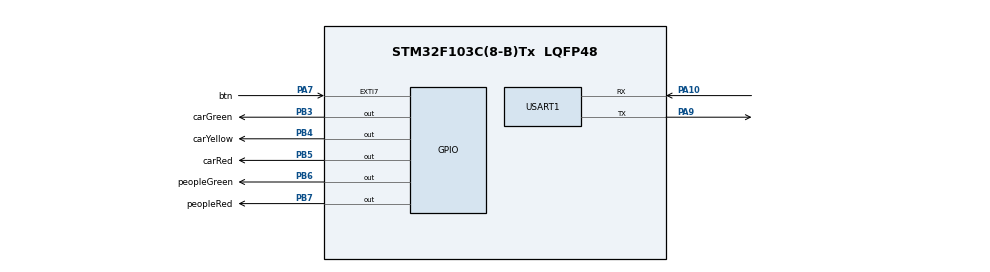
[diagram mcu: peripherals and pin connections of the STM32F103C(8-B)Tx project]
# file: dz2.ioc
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Mcu.Family=STM32F1
Mcu.Name=STM32F103C(8-B)Tx
Mcu.Package=LQFP48
NVIC.EXTI9_5_IRQn=true\:0\:0\:false\:false\:true\:true\:true\:true
NVIC.PriorityGroup=NVIC_PRIORITYGROUP_4
NVIC.TIM1_UP_IRQn=true\:0\:0\:false\:false\:true\:true\:true\:true
NVIC.USART1_IRQn=true\:0\:0\:false\:false\:true\:true\:true\:true
PA10.Mode=Asynchronous
PA10.Signal=USART1_RX
PA13.Mode=Serial_Wire
PA13.Signal=SYS_JTMS-SWDIO
PA14.Mode=Serial_Wire
PA14.Signal=SYS_JTCK-SWCLK
PA7.GPIO_Label=btn
PA7.GPIO_ModeDefaultEXTI=GPIO_MODE_IT_FALLING
PA7.GPIO_PuPd=GPIO_PULLUP
PA7.Signal=GPXTI7
PA9.Mode=Asynchronous
PA9.Signal=USART1_TX
PB3.GPIO_Label=carGreen
PB3.PinState=GPIO_PIN_RESET
PB3.Signal=GPIO_Output
PB4.GPIO_Label=carYellow
PB4.PinState=GPIO_PIN_RESET
PB4.Signal=GPIO_Output
PB5.GPIO_Label=carRed
PB5.PinState=GPIO_PIN_SET
PB5.Signal=GPIO_Output
PB6.GPIO_Label=peopleGreen
PB6.PinState=GPIO_PIN_RESET
PB6.Signal=GPIO_Output
PB7.GPIO_Label=peopleRed
PB7.PinState=GPIO_PIN_SET
PB7.Signal=GPIO_Output
ProjectManager.HeapSize=0x200
ProjectManager.StackSize=0x400
ProjectManager.TargetToolchain=STM32CubeIDE
RCC.APB1Freq_Value=8000000
RCC.APB2Freq_Value=8000000
TIM1.Period=1000
TIM1.Prescaler=7999
USART1.VirtualMode=VM_ASYNC
VP_TIM1_VS_ClockSourceINT.Mode=Internal
board=custom

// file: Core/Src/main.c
/* USER CODE BEGIN Header */
/**
  ******************************************************************************
  * @file           : main.c
  * @brief          : Main program body
  ******************************************************************************
  * @attention
  *
  * Copyright (c) 2024 STMicroelectronics.
  * All rights reserved.
  *
  * This software is licensed under terms that can be found in the LICENSE file
  * in the root directory of this software component.
  * If no LICENSE file comes with this software, it is provided AS-IS.
  *
  ******************************************************************************
  */
/* USER CODE END Header */
#include "main.h"

TIM_HandleTypeDef htim1;

UART_HandleTypeDef huart1;

/* USER CODE BEGIN PV */
uint8_t status = 1;
uint8_t letGo = 0;
uint8_t seconds = 0;
uint8_t delay = 0;
uint8_t pData[8] = {0};
uint8_t dataReceived=0; // признак данное получено
uint8_t dataTransmitted=1; // признак данное передано

enum numColor {
	CAR_GREEN,
	CAR_YELLOW,
	CAR_RED,
	PEOPLE_GREEN,
	PEOPLE_RED
};
/* USER CODE END PV */

void SystemClock_Config(void);
static void MX_GPIO_Init(void);
static void MX_USART1_UART_Init(void);
static void MX_TIM1_Init(void);
/* USER CODE BEGIN PFP */
void setIntBufer(int32_t num, uint8_t buf[], uint8_t len);
void setStatus(void);
void setStrob(enum numColor numColor, uint8_t numRepeat);
void setAllRed(void);
void setCarRed(void);
void setCarYellow(void);
void setCarGreen(void);
/* USER CODE END PFP */

int main(void)
{

  /* MCU Configuration--------------------------------------------------------*/

  /* Reset of all peripherals, Initializes the Flash interface and the Systick. */
  HAL_Init();

  /* Configure the system clock */
  SystemClock_Config();

  /* Initialize all configured peripherals */
  MX_GPIO_Init();
  MX_USART1_UART_Init();
  MX_TIM1_Init();
  /* USER CODE BEGIN 2 */
  HAL_TIM_Base_Start_IT(&htim1);
  /* USER CODE END 2 */

  /* Infinite loop */
  /* USER CODE BEGIN WHILE */
  HAL_UART_Receive_IT (&huart1, pData, 8);
  while (1)
  {
//	  uint8_t state = HAL_UART_GetState(&huart1);
//	  if( (state != HAL_UART_STATE_BUSY_RX) && (state != HAL_UART_STATE_BUSY_TX_RX) ) {
//
//	    while( HAL_UART_Transmit_IT(&huart1, pData, 8) == HAL_BUSY );

	  setStatus();

	  if(seconds < delay){
		  if(letGo == 1){
			  if((delay - seconds) > 5){
				  status = 2;
				  letGo = 0;
				  continue;
			  } else {
				  letGo = 0;
			  }
		  }
	  }
	  else {
		  seconds = 0;
		  delay = 0;
		  status++;
	  }

    /* USER CODE END WHILE */

  }
}

void SystemClock_Config(void)
{
  RCC_OscInitTypeDef RCC_OscInitStruct = {0};
  RCC_ClkInitTypeDef RCC_ClkInitStruct = {0};

  /** Initializes the RCC Oscillators according to the specified parameters
  * in the RCC_OscInitTypeDef structure.
  */
  RCC_OscInitStruct.OscillatorType = RCC_OSCILLATORTYPE_HSI;
  RCC_OscInitStruct.HSIState = RCC_HSI_ON;
  RCC_OscInitStruct.HSICalibrationValue = RCC_HSICALIBRATION_DEFAULT;
  RCC_OscInitStruct.PLL.PLLState = RCC_PLL_NONE;
  if (HAL_RCC_OscConfig(&RCC_OscInitStruct) != HAL_OK)
  {
    Error_Handler();
  }

  /** Initializes the CPU, AHB and APB buses clocks
  */
  RCC_ClkInitStruct.ClockType = RCC_CLOCKTYPE_HCLK|RCC_CLOCKTYPE_SYSCLK
                              |RCC_CLOCKTYPE_PCLK1|RCC_CLOCKTYPE_PCLK2;
  RCC_ClkInitStruct.SYSCLKSource = RCC_SYSCLKSOURCE_HSI;
  RCC_ClkInitStruct.AHBCLKDivider = RCC_SYSCLK_DIV1;
  RCC_ClkInitStruct.APB1CLKDivider = RCC_HCLK_DIV1;
  RCC_ClkInitStruct.APB2CLKDivider = RCC_HCLK_DIV1;

  if (HAL_RCC_ClockConfig(&RCC_ClkInitStruct, FLASH_LATENCY_0) != HAL_OK)
  {
    Error_Handler();
  }
}

static void MX_TIM1_Init(void)
{

  TIM_ClockConfigTypeDef sClockSourceConfig = {0};
  TIM_MasterConfigTypeDef sMasterConfig = {0};

  htim1.Instance = TIM1;
  htim1.Init.Prescaler = 7999;
  htim1.Init.CounterMode = TIM_COUNTERMODE_UP;
  htim1.Init.Period = 1000;
  htim1.Init.ClockDivision = TIM_CLOCKDIVISION_DIV1;
  htim1.Init.RepetitionCounter = 0;
  htim1.Init.AutoReloadPreload = TIM_AUTORELOAD_PRELOAD_DISABLE;
  if (HAL_TIM_Base_Init(&htim1) != HAL_OK)
  {
    Error_Handler();
  }
  sClockSourceConfig.ClockSource = TIM_CLOCKSOURCE_INTERNAL;
  if (HAL_TIM_ConfigClockSource(&htim1, &sClockSourceConfig) != HAL_OK)
  {
    Error_Handler();
  }
  sMasterConfig.MasterOutputTrigger = TIM_TRGO_RESET;
  sMasterConfig.MasterSlaveMode = TIM_MASTERSLAVEMODE_DISABLE;
  if (HAL_TIMEx_MasterConfigSynchronization(&htim1, &sMasterConfig) != HAL_OK)
  {
    Error_Handler();
  }

}

static void MX_USART1_UART_Init(void)
{

  huart1.Instance = USART1;
  huart1.Init.BaudRate = 115200;
  huart1.Init.WordLength = UART_WORDLENGTH_8B;
  huart1.Init.StopBits = UART_STOPBITS_1;
  huart1.Init.Parity = UART_PARITY_NONE;
  huart1.Init.Mode = UART_MODE_TX_RX;
  huart1.Init.HwFlowCtl = UART_HWCONTROL_NONE;
  huart1.Init.OverSampling = UART_OVERSAMPLING_16;
  if (HAL_UART_Init(&huart1) != HAL_OK)
  {
    Error_Handler();
  }

}

static void MX_GPIO_Init(void)
{
  GPIO_InitTypeDef GPIO_InitStruct = {0};

  /* GPIO Ports Clock Enable */
  __HAL_RCC_GPIOA_CLK_ENABLE();
  __HAL_RCC_GPIOB_CLK_ENABLE();

  /*Configure GPIO pin Output Level */
  HAL_GPIO_WritePin(GPIOB, carGreen_Pin|carYellow_Pin|peopleGreen_Pin, GPIO_PIN_RESET);

  /*Configure GPIO pin Output Level */
  HAL_GPIO_WritePin(GPIOB, carRed_Pin|peopleRed_Pin, GPIO_PIN_SET);

  /*Configure GPIO pin : btn_Pin */
  GPIO_InitStruct.Pin = btn_Pin;
  GPIO_InitStruct.Mode = GPIO_MODE_IT_FALLING;
  GPIO_InitStruct.Pull = GPIO_PULLUP;
  HAL_GPIO_Init(btn_GPIO_Port, &GPIO_InitStruct);

  /*Configure GPIO pins : carGreen_Pin carYellow_Pin carRed_Pin peopleGreen_Pin
                           peopleRed_Pin */
  GPIO_InitStruct.Pin = carGreen_Pin|carYellow_Pin|carRed_Pin|peopleGreen_Pin
                          |peopleRed_Pin;
  GPIO_InitStruct.Mode = GPIO_MODE_OUTPUT_PP;
  GPIO_InitStruct.Pull = GPIO_NOPULL;
  GPIO_InitStruct.Speed = GPIO_SPEED_FREQ_LOW;
  HAL_GPIO_Init(GPIOB, &GPIO_InitStruct);

  /* EXTI interrupt init*/
  HAL_NVIC_SetPriority(EXTI9_5_IRQn, 0, 0);
  HAL_NVIC_EnableIRQ(EXTI9_5_IRQn);

}

/* USER CODE BEGIN 4 */

/**
 * Функция формирует массив buf длиной len из разрядов числа num (тип uint32)
 * Массив записывается с конца
 * Нулевой элемент массива buf используется для знака
 * */
void setIntBufer(int32_t num, uint8_t buf[], uint8_t len){
	  len -= 1;

	  if(num < 0){ // если переданное в функцию число отрицательное
		  num *= -1; // делаем число положительным
		  buf[0] = '-'; // записываем знак в нулевой элемент массива
	  }
	  else
		  buf[0] = 0; // иначе обнуляем

	  if(num == 0){ // если в функцию был передан 0
		  buf[len] = '0';
	  }
	  else { // иначе производим перебор переданного числа с записью каждого разряда в элемент массива buf
		  while(num){
			  buf[len] = '0' + (num % 10);
			  num /= 10;
			  len--;
		  }
	  }
}

// Функция вызывается из прерывания таймера (каждую 1 секунду)
void timerIT(){
	uint8_t str[] = "Timer!\r\n";
	HAL_UART_Transmit(&huart1, str, 8, 1);

	uint8_t strSec[] = "Sec - ";
	uint8_t strDel[] = " Delay - ";
	uint8_t strStatus[] = " Status - ";
	uint8_t strNum[8];

	HAL_UART_Transmit(&huart1, strSec, 6, 1);
	setIntBufer(seconds, strNum, 2);
	HAL_UART_Transmit(&huart1, strNum, 2, 1);

	HAL_UART_Transmit(&huart1, strDel, 9, 1);
	setIntBufer(delay, strNum, 2);
	HAL_UART_Transmit(&huart1, strNum, 2, 1);

	HAL_UART_Transmit(&huart1, strStatus, 10, 1);
	setIntBufer(status, strNum, 2);
	HAL_UART_Transmit(&huart1, strNum, 2, 1);

	uint8_t strN[] = "\r\n";
	HAL_UART_Transmit(&huart1, strN, 2, 1);

	seconds++;
}

//void HAL_UART_RxCpltCallback(UART_HandleTypeDef *huart) {
//
//  if(huart == &huart1) {
//
//    dataReceived=1;
//
//    if( dataTransmitted != 0 ) {
//		HAL_UART_Transmit_IT(&huart1, pData, 8);
//		dataReceived=0;
//		dataTransmitted=0;
//    }
//
//    HAL_UART_Receive_IT (&huart1, pData, 8);
//  }
//}
//
//void HAL_UART_TxCpltCallback(UART_HandleTypeDef *huart) {
//
//  if(huart == &huart1) {
//
//    dataTransmitted=1;
//
//    if( dataReceived != 0 ) {
//      HAL_UART_Transmit_IT(&huart1, pData, 8);
//      dataReceived=0;
//      dataTransmitted=0;
//    }
//  }
//}

// Функция вызывается из прерывания UART
void uartIT(){
	if( pData[0] == '1' ){
		status = 2;
		delay = 0;
	}

	HAL_UART_Receive_IT (&huart1, pData, 8);
}

// Функция вызывается из прерывания GPIO
void peopleBtnClick(){
	uint8_t str[] = "Click!\r\n";
	HAL_UART_Transmit(&huart1, str, 8, 1);
	if(status == 1){
		delay = 0;
		letGo = 1;
	}
}

// функция устанавливает текущее состояние светофоров в соответствии с переменной status
void setStatus(){
	if(status > 9)
		status = 1;

	switch (status){
		case 0:
			break;
		case 1:
			delay = 15;
			setCarGreen();
			break;
		case 2:
			setStrob(CAR_GREEN, 5);
			break;
		case 3:
			delay = 3;
			setCarYellow();
			break;
		case 4:
			delay = 3;
			setAllRed();
			break;
		case 5:
			delay = 6;
			setCarRed();
			break;
		case 6:
			setStrob(PEOPLE_GREEN, 5);
			break;
		case 7:
			delay = 3;
			setAllRed();
			break;
		case 8:
			delay = 3;
			HAL_GPIO_WritePin(GPIOB, carYellow_Pin, GPIO_PIN_SET);
			break;
		case 9:
			break;
	}
}

// Все сигналы красные
void setAllRed(){
	HAL_GPIO_WritePin(GPIOB, carGreen_Pin|carYellow_Pin|peopleGreen_Pin, GPIO_PIN_RESET);
	HAL_GPIO_WritePin(GPIOB, carRed_Pin|peopleRed_Pin, GPIO_PIN_SET);
}

// Пешеходам зеленый, автомобилям красный
void setCarRed(){
	HAL_GPIO_WritePin(GPIOB, carGreen_Pin|carYellow_Pin|peopleRed_Pin, GPIO_PIN_RESET);
	HAL_GPIO_WritePin(GPIOB, carRed_Pin|peopleGreen_Pin, GPIO_PIN_SET);
}

// Пешеходам красный, автомобилям желтый
void setCarYellow(){
	HAL_GPIO_WritePin(GPIOB, carGreen_Pin|carRed_Pin|peopleGreen_Pin, GPIO_PIN_RESET);
	HAL_GPIO_WritePin(GPIOB, carYellow_Pin|peopleRed_Pin, GPIO_PIN_SET);
}

// Пешеходам красный, автомобилям зеленый
void setCarGreen(){
	HAL_GPIO_WritePin(GPIOB, carYellow_Pin|carRed_Pin|peopleGreen_Pin, GPIO_PIN_RESET);
	HAL_GPIO_WritePin(GPIOB, carGreen_Pin|peopleRed_Pin, GPIO_PIN_SET);
}

// Функция выполняет моргание цветом (enum numColor) количеством равным numRepeat
void setStrob(enum numColor numColor, uint8_t numRepeat){
	while((numRepeat * 2) > 0){
		seconds = 0;
		while(seconds < 1){}
		switch (numColor){
			case CAR_GREEN:
				HAL_GPIO_TogglePin(carGreen_GPIO_Port, carGreen_Pin);
				break;
			case CAR_YELLOW:
				HAL_GPIO_TogglePin(carYellow_GPIO_Port, carYellow_Pin);
				break;
			case CAR_RED:
				HAL_GPIO_TogglePin(carRed_GPIO_Port, carRed_Pin);
				break;
			case PEOPLE_GREEN:
				HAL_GPIO_TogglePin(peopleGreen_GPIO_Port, peopleGreen_Pin);
				break;
			case PEOPLE_RED:
				HAL_GPIO_TogglePin(peopleRed_GPIO_Port, peopleRed_Pin);
				break;
		}

		numRepeat--;
	}
}

/* USER CODE END 4 */

void Error_Handler(void)
{
  __disable_irq();
  while (1)
  {
  }
}
